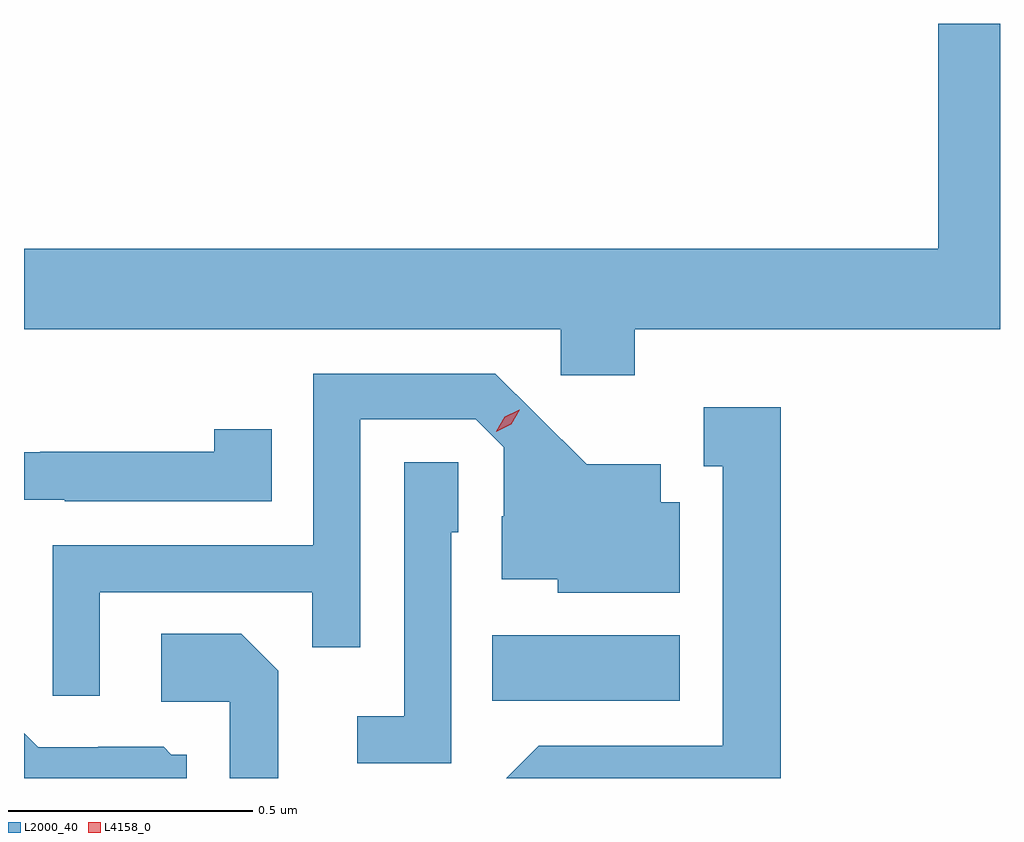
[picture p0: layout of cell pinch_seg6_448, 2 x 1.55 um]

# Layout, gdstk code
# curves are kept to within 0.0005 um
import gdstk
lib = gdstk.Library(unit=1e-6, precision=1e-09)
def R(c, l, rs):  # rectangles x0, y0, x1, y1
    for r in rs: c.add(gdstk.rectangle(r[:2], r[2:], *l))
def P(c, l, *ps):  # polygons
    for p in ps: c.add(gdstk.Polygon(p, *l))
L2000_40 = (2000, 40)
L4158_0 = (4158, 0)

pinch_seg6_448 = lib.new_cell('pinch_seg6_448')
R(pinch_seg6_448, L2000_40, [(738.322,921.266,738.706,921.4)])
P(pinch_seg6_448, L2000_40, [(738.614,922.028),(739.362,922.028),(739.362,922.654),(739.235,922.654),(739.235,922.192),(737.362,922.192),(737.362,922.028),(738.462,922.028),(738.462,921.933),(738.614,921.933)],
  [(737.517,921.489),(737.953,921.489),(737.953,921.376),(738.051,921.376),(738.051,921.843),(738.288,921.843),(738.345,921.786),(738.345,921.644),(738.341,921.644),(738.341,921.515),(738.456,921.515),(738.456,921.488),(738.706,921.488),(738.706,921.673),(738.667,921.673),(738.667,921.751),(738.515,921.751),(738.328,921.936),(737.955,921.936),(737.955,921.585),(737.421,921.585),(737.421,921.276),(737.517,921.276)],
  [(738.913,921.868),(738.755,921.868),(738.755,921.747),(738.794,921.747),(738.794,921.174),(738.417,921.174),(738.35,921.107),(738.913,921.107)],
  [(737.87,921.823),(737.752,921.823),(737.752,921.776),(737.395,921.776),(737.395,921.775),(737.362,921.775),(737.362,921.678),(737.446,921.678),(737.446,921.675),(737.87,921.675)],
  [(738.237,921.612),(738.252,921.612),(738.252,921.755),(738.141,921.755),(738.141,921.235),(738.045,921.235),(738.045,921.138),(738.237,921.138)],
  [(737.883,921.328),(737.807,921.404),(737.643,921.404),(737.643,921.264),(737.784,921.264),(737.784,921.107),(737.883,921.107)],
  [(737.695,921.156),(737.664,921.156),(737.648,921.172),(737.514,921.172),(737.514,921.171),(737.391,921.171),(737.362,921.2),(737.362,921.107),(737.695,921.107)])
P(pinch_seg6_448, L4158_0, [(738.33,921.818),(738.33,921.819),(738.347,921.848),(738.377,921.863),(738.378,921.863),(738.378,921.863),(738.36,921.833),(738.33,921.818)])

lib.write_gds('pinch_seg6_448.gds')
